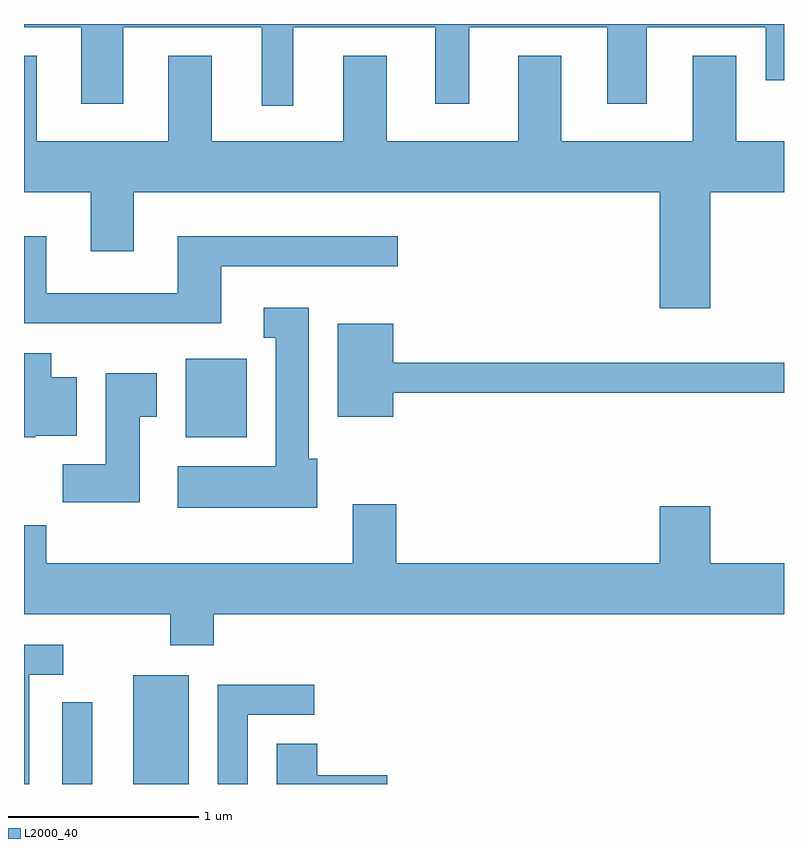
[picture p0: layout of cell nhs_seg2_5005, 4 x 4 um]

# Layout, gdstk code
import gdstk
lib = gdstk.Library(unit=1e-6, precision=1e-09)
def R(c, l, rs):  # rectangles x0, y0, x1, y1
    for r in rs: c.add(gdstk.rectangle(r[:2], r[2:], *l))
def P(c, l, *ps):  # polygons
    for p in ps: c.add(gdstk.Polygon(p, *l))
L2000_40 = (2000, 40)

nhs_seg2_5005 = lib.new_cell('nhs_seg2_5005')
R(nhs_seg2_5005, L2000_40, [(331.811,1111.802,331.969,1112.233), (332.186,1111.802,332.479,1112.374), (332.461,1113.626,332.784,1114.039)])
P(nhs_seg2_5005, L2000_40, [(333.029,1115.786),(333.776,1115.786),(333.776,1115.381),(333.954,1115.381),(333.954,1115.786),(334.681,1115.786),(334.681,1115.381),(334.889,1115.381),(334.889,1115.786),(335.516,1115.786),(335.516,1115.506),(335.611,1115.506),(335.611,1115.802),(331.611,1115.802),(331.611,1115.786),(331.911,1115.786),(331.911,1115.381),(332.134,1115.381),(332.134,1115.786),(332.861,1115.786),(332.861,1115.373),(333.029,1115.373)],
  [(335.224,1114.916),(335.611,1114.916),(335.611,1115.184),(335.359,1115.184),(335.359,1115.634),(335.131,1115.634),(335.131,1115.184),(334.439,1115.184),(334.439,1115.634),(334.211,1115.634),(334.211,1115.184),(333.519,1115.184),(333.519,1115.634),(333.291,1115.634),(333.291,1115.184),(332.599,1115.184),(332.599,1115.634),(332.371,1115.634),(332.371,1115.184),(331.679,1115.184),(331.679,1115.634),(331.611,1115.634),(331.611,1114.916),(331.961,1114.916),(331.961,1114.606),(332.189,1114.606),(332.189,1114.916),(334.956,1114.916),(334.956,1114.306),(335.224,1114.306)],
  [(332.649,1114.526),(333.578,1114.526),(333.578,1114.684),(332.421,1114.684),(332.421,1114.384),(331.729,1114.384),(331.729,1114.684),(331.611,1114.684),(331.611,1114.226),(332.649,1114.226)],
  [(333.154,1113.514),(333.109,1113.514),(333.109,1114.309),(332.873,1114.309),(332.873,1114.151),(332.936,1114.151),(332.936,1113.474),(332.421,1113.474),(332.421,1113.256),(333.154,1113.256)],
  [(333.554,1113.861),(335.611,1113.861),(335.611,1114.019),(333.554,1114.019),(333.554,1114.224),(333.261,1114.224),(333.261,1113.736),(333.554,1113.736)],
  [(331.67,1113.636),(331.889,1113.636),(331.889,1113.944),(331.754,1113.944),(331.754,1114.069),(331.611,1114.069),(331.611,1113.626),(331.67,1113.626)],
  [(332.219,1113.736),(332.309,1113.736),(332.309,1113.964),(332.041,1113.964),(332.041,1113.484),(331.816,1113.484),(331.816,1113.286),(332.219,1113.286)],
  [(331.611,1113.164),(331.611,1112.696),(332.381,1112.696),(332.381,1112.531),(332.609,1112.531),(332.609,1112.696),(335.611,1112.696),(335.611,1112.964),(335.224,1112.964),(335.224,1113.264),(334.956,1113.264),(334.956,1112.964),(333.569,1112.964),(333.569,1113.274),(333.341,1113.274),(333.341,1112.964),(331.729,1112.964),(331.729,1113.164)],
  [(331.639,1112.376),(331.818,1112.376),(331.818,1112.534),(331.611,1112.534),(331.611,1111.802),(331.639,1111.802)],
  [(332.789,1112.166),(333.138,1112.166),(333.138,1112.324),(332.631,1112.324),(332.631,1111.802),(332.789,1111.802)],
  [(333.524,1111.849),(333.154,1111.849),(333.154,1112.014),(332.941,1112.014),(332.941,1111.802),(333.524,1111.802)])

lib.write_gds('nhs_seg2_5005.gds')
